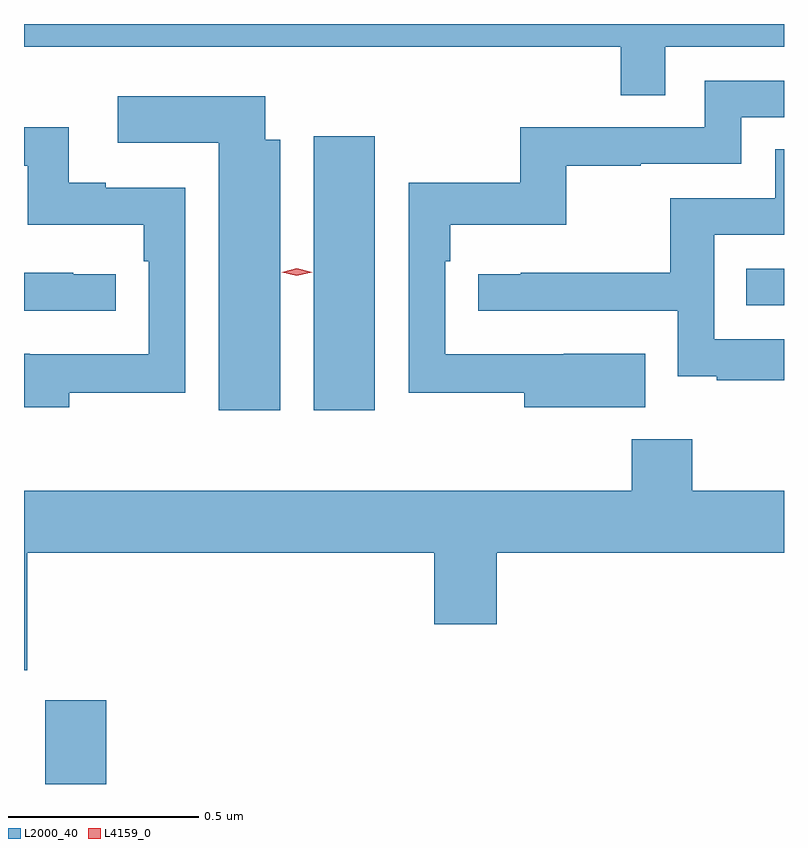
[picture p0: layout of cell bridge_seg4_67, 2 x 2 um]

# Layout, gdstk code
import gdstk
lib = gdstk.Library(unit=1e-6, precision=1e-09)
def R(c, l, rs):  # rectangles x0, y0, x1, y1
    for r in rs: c.add(gdstk.rectangle(r[:2], r[2:], *l))
def P(c, l, *ps):  # polygons
    for p in ps: c.add(gdstk.Polygon(p, *l))
L2000_40 = (2000, 40)
L4159_0 = (4159, 0)

bridge_seg4_67 = lib.new_cell('bridge_seg4_67')
R(bridge_seg4_67, L2000_40, [(835.312,781.56,835.472,781.78), (836.018,782.544,836.179,783.265), (837.157,782.82,837.256,782.916)])
P(bridge_seg4_67, L2000_40, [(836.943,783.5),(837.256,783.5),(837.256,783.56),(835.256,783.56),(835.256,783.5),(836.827,783.5),(836.827,783.373),(836.943,783.373)],
  [(836.891,782.692),(836.677,782.692),(836.677,782.691),(836.364,782.691),(836.364,782.936),(836.378,782.936),(836.378,783.032),(836.683,783.032),(836.683,783.187),(836.879,783.187),(836.879,783.192),(837.144,783.192),(837.144,783.315),(837.256,783.315),(837.256,783.411),(837.048,783.411),(837.048,783.288),(836.562,783.288),(836.562,783.142),(836.268,783.142),(836.268,782.59),(836.573,782.59),(836.573,782.552),(836.891,782.552)],
  [(835.93,783.256),(835.891,783.256),(835.891,783.37),(835.503,783.37),(835.503,783.248),(835.769,783.248),(835.769,782.544),(835.93,782.544)],
  [(835.375,782.59),(835.68,782.59),(835.68,783.129),(835.471,783.129),(835.471,783.142),(835.374,783.142),(835.374,783.288),(835.256,783.288),(835.256,783.187),(835.266,783.187),(835.266,783.032),(835.571,783.032),(835.571,782.936),(835.584,782.936),(835.584,782.691),(835.271,782.691),(835.271,782.692),(835.256,782.692),(835.256,782.552),(835.375,782.552)],
  [(837.256,782.73),(837.072,782.73),(837.072,783.006),(837.256,783.006),(837.256,783.23),(837.233,783.23),(837.233,783.102),(836.956,783.102),(836.956,782.906),(836.563,782.906),(836.563,782.901),(836.451,782.901),(836.451,782.805),(836.976,782.805),(836.976,782.633),(837.079,782.633),(837.079,782.622),(837.256,782.622)],
  [(835.498,782.901),(835.385,782.901),(835.385,782.906),(835.256,782.906),(835.256,782.805),(835.498,782.805)],
  [(835.264,782.168),(836.336,782.168),(836.336,781.98),(836.5,781.98),(836.5,782.168),(837.256,782.168),(837.256,782.332),(837.015,782.332),(837.015,782.467),(836.855,782.467),(836.855,782.332),(835.256,782.332),(835.256,781.859),(835.264,781.859)])
P(bridge_seg4_67, L4159_0, [(835.974,782.897),(835.934,782.907),(835.934,782.907),(835.934,782.907),(835.974,782.917),(836.014,782.907),(836.014,782.907),(836.014,782.907)])

lib.write_gds('bridge_seg4_67.gds')
